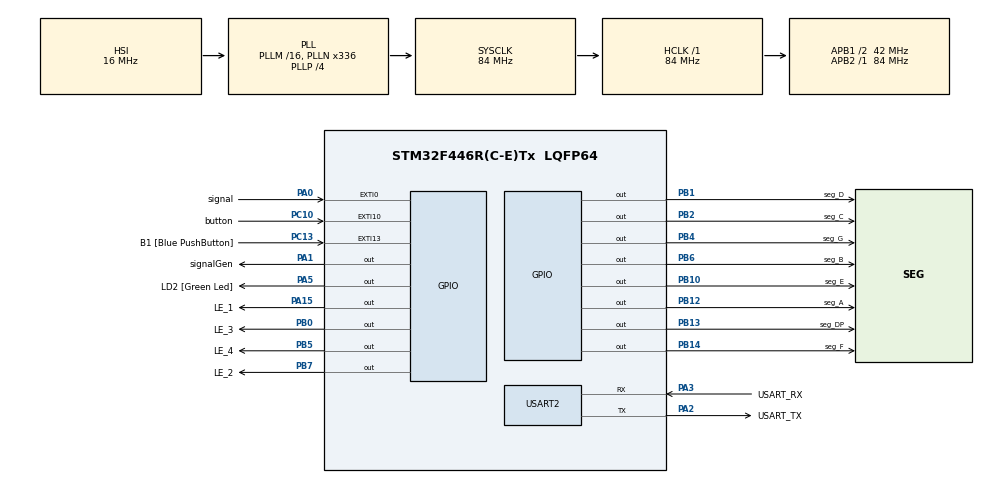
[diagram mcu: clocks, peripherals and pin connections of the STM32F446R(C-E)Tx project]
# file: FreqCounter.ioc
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Mcu.Family=STM32F4
Mcu.Name=STM32F446R(C-E)Tx
Mcu.Package=LQFP64
NVIC.EXTI0_IRQn=true\:0\:0\:false\:false\:true\:true\:true
NVIC.EXTI15_10_IRQn=true\:0\:0\:false\:false\:true\:true\:true
NVIC.PriorityGroup=NVIC_PRIORITYGROUP_0
PA0-WKUP.GPIO_Label=signal
PA0-WKUP.GPIO_PuPd=GPIO_PULLDOWN
PA0-WKUP.Signal=GPXTI0
PA1.GPIO_Label=signalGen
PA1.GPIO_PuPd=GPIO_PULLDOWN
PA1.GPIO_Speed=GPIO_SPEED_FREQ_HIGH
PA1.Signal=GPIO_Output
PA13.GPIO_Label=TMS
PA13.Mode=Serial_Wire
PA13.Signal=SYS_JTMS-SWDIO
PA14.GPIO_Label=TCK
PA14.Mode=Serial_Wire
PA14.Signal=SYS_JTCK-SWCLK
PA15.GPIO_Label=LE_1
PA15.GPIO_PuPd=GPIO_PULLUP
PA15.GPIO_Speed=GPIO_SPEED_FREQ_HIGH
PA15.PinState=GPIO_PIN_SET
PA15.Signal=GPIO_Output
PA2.GPIO_Label=USART_TX
PA2.Mode=Asynchronous
PA2.Signal=USART2_TX
PA3.GPIO_Label=USART_RX
PA3.Mode=Asynchronous
PA3.Signal=USART2_RX
PA5.GPIO_Label=LD2 [Green Led]
PA5.Signal=GPIO_Output
PB0.GPIO_Label=LE_3
PB0.GPIO_PuPd=GPIO_PULLUP
PB0.GPIO_Speed=GPIO_SPEED_FREQ_HIGH
PB0.PinState=GPIO_PIN_SET
PB0.Signal=GPIO_Output
PB1.GPIO_Label=seg_D
PB1.GPIO_PuPd=GPIO_PULLUP
PB1.GPIO_Speed=GPIO_SPEED_FREQ_HIGH
PB1.Signal=GPIO_Output
PB10.GPIO_Label=seg_E
PB10.GPIO_PuPd=GPIO_PULLUP
PB10.GPIO_Speed=GPIO_SPEED_FREQ_HIGH
PB10.Signal=GPIO_Output
PB12.GPIO_Label=seg_A
PB12.GPIO_ModeDefaultOutputPP=GPIO_MODE_OUTPUT_PP
PB12.GPIO_PuPd=GPIO_PULLUP
PB12.GPIO_Speed=GPIO_SPEED_FREQ_HIGH
PB12.Signal=GPIO_Output
PB13.GPIO_Label=seg_DP
PB13.GPIO_PuPd=GPIO_PULLUP
PB13.GPIO_Speed=GPIO_SPEED_FREQ_HIGH
PB13.Signal=GPIO_Output
PB14.GPIO_Label=seg_F
PB14.GPIO_ModeDefaultOutputPP=GPIO_MODE_OUTPUT_PP
PB14.GPIO_PuPd=GPIO_PULLUP
PB14.GPIO_Speed=GPIO_SPEED_FREQ_HIGH
PB14.Signal=GPIO_Output
PB2.GPIO_Label=seg_C
PB2.GPIO_PuPd=GPIO_PULLUP
PB2.GPIO_Speed=GPIO_SPEED_FREQ_HIGH
PB2.Signal=GPIO_Output
PB3.GPIO_Label=SWO
PB3.Signal=SYS_JTDO-SWO
PB4.GPIO_Label=seg_G
PB4.GPIO_PuPd=GPIO_PULLUP
PB4.GPIO_Speed=GPIO_SPEED_FREQ_HIGH
PB4.Signal=GPIO_Output
PB5.GPIO_Label=LE_4
PB5.GPIO_PuPd=GPIO_PULLUP
PB5.GPIO_Speed=GPIO_SPEED_FREQ_HIGH
PB5.PinState=GPIO_PIN_SET
PB5.Signal=GPIO_Output
PB6.GPIO_Label=seg_B
PB6.GPIO_PuPd=GPIO_PULLUP
PB6.GPIO_Speed=GPIO_SPEED_FREQ_HIGH
PB6.Signal=GPIO_Output
PB7.GPIO_Label=LE_2
PB7.GPIO_PuPd=GPIO_PULLUP
PB7.GPIO_Speed=GPIO_SPEED_FREQ_HIGH
PB7.PinState=GPIO_PIN_SET
PB7.Signal=GPIO_Output
PC10.GPIO_Label=button
PC10.GPIO_ModeDefaultEXTI=GPIO_MODE_IT_FALLING
PC10.GPIO_PuPd=GPIO_PULLUP
PC10.Signal=GPXTI10
PC13.GPIO_Label=B1 [Blue PushButton]
PC13.GPIO_ModeDefaultEXTI=GPIO_MODE_IT_FALLING
PC13.Signal=GPXTI13
PC14-OSC32_IN.Mode=LSE-External-Oscillator
PC14-OSC32_IN.Signal=RCC_OSC32_IN
PC15-OSC32_OUT.Mode=LSE-External-Oscillator
PC15-OSC32_OUT.Signal=RCC_OSC32_OUT
PH0-OSC_IN.Mode=HSE-External-Oscillator
PH0-OSC_IN.Signal=RCC_OSC_IN
PH1-OSC_OUT.Mode=HSE-External-Oscillator
PH1-OSC_OUT.Signal=RCC_OSC_OUT
ProjectManager.HeapSize=0x200
ProjectManager.StackSize=0x400
ProjectManager.TargetToolchain=STM32CubeIDE
RCC.48MHZClocksFreq_Value=84000000
RCC.AHBFreq_Value=84000000
RCC.APB1CLKDivider=RCC_HCLK_DIV2
RCC.APB1Freq_Value=42000000
RCC.APB1TimFreq_Value=84000000
RCC.APB2Freq_Value=84000000
RCC.APB2TimFreq_Value=84000000
RCC.CortexFreq_Value=84000000
RCC.FLatency-AdvancedSettings=FLASH_LATENCY_2
RCC.HCLKFreq_Value=84000000
RCC.HSE_VALUE=8000000
RCC.HSI_VALUE=16000000
RCC.PLLN=336
RCC.PLLP=RCC_PLLP_DIV4
RCC.SYSCLKFreq_VALUE=84000000
RCC.SYSCLKSource=RCC_SYSCLKSOURCE_PLLCLK
RCC.USBFreq_Value=168000000
RCC.VCOOutputFreq_Value=336000000
USART2.VirtualMode=VM_ASYNC
board=NUCLEO-F446RE

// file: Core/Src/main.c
/* USER CODE BEGIN Header */
/**
  ******************************************************************************
  * @file           : main.c
  * @brief          : Main program body
  ******************************************************************************
  * @attention
  *
  * <h2><center>&copy; Copyright (c) 2020 STMicroelectronics.
  * All rights reserved.</center></h2>
  *
  * This software component is licensed by ST under BSD 3-Clause license,
  * the "License"; You may not use this file except in compliance with the
  * License. You may obtain a copy of the License at:
  *                        opensource.org/licenses/BSD-3-Clause
  *
  ******************************************************************************
  */
/* USER CODE END Header */

#include "main.h"

UART_HandleTypeDef huart2;

/* USER CODE BEGIN PV */
TIM_HandleTypeDef htim_gen;
TIM_HandleTypeDef htim_clockCntr;
TIM_HandleTypeDef htim_prell;

uint16_t sevenSegNumbers[] = {
		0x5446,
		0x0044,
		0x1452,
		0x1056,
		0x4054,
		0x5016,
		0x5416,
		0x1044,
		0x5456,
		0x5056
};
enum printMode {Freq, Time};
uint8_t mode = Freq;
uint32_t isPrint = 0;
uint32_t clockCntr = 0;
uint32_t printCntr = 0;
uint16_t sevenSegMask = 0x7456;
/* USER CODE END PV */

void SystemClock_Config(void);
static void MX_GPIO_Init(void);
static void MX_USART2_UART_Init(void);
/* USER CODE BEGIN PFP */
static void DisplayOE_TIM_Config(void);
static void SeftSquareSignalGenerator(void);
static void ClockCounter(void);
static void ButtonPrellTimer(void);
static void PrintFreq(uint32_t, uint8_t);
static void CalcFreq(uint32_t);
/* USER CODE END PFP */

int main(void)
{

  /* MCU Configuration--------------------------------------------------------*/

  /* Reset of all peripherals, Initializes the Flash interface and the Systick. */
  HAL_Init();

  /* Configure the system clock */
  SystemClock_Config();

  /* Initialize all configured peripherals */
  MX_GPIO_Init();
  MX_USART2_UART_Init();
  /* USER CODE BEGIN 2 */
  char* mess = "Start\r\n";
  HAL_UART_Transmit(&huart2, mess, 7, 5000);
   //DisplayOE_TIM_Config();
  ButtonPrellTimer();
  SeftSquareSignalGenerator();
  ClockCounter();
  /* USER CODE END 2 */

  /* Infinite loop */
  /* USER CODE BEGIN WHILE */
  while (1)
  {
	  //PrintFreq(rand()%9999);
	  CalcFreq(printCntr);
    /* USER CODE END WHILE */

  }
}

void SystemClock_Config(void)
{
  RCC_OscInitTypeDef RCC_OscInitStruct = {0};
  RCC_ClkInitTypeDef RCC_ClkInitStruct = {0};

  /** Configure the main internal regulator output voltage
  */
  __HAL_RCC_PWR_CLK_ENABLE();
  __HAL_PWR_VOLTAGESCALING_CONFIG(PWR_REGULATOR_VOLTAGE_SCALE3);
  /** Initializes the CPU, AHB and APB busses clocks
  */
  RCC_OscInitStruct.OscillatorType = RCC_OSCILLATORTYPE_HSI;
  RCC_OscInitStruct.HSIState = RCC_HSI_ON;
  RCC_OscInitStruct.HSICalibrationValue = RCC_HSICALIBRATION_DEFAULT;
  RCC_OscInitStruct.PLL.PLLState = RCC_PLL_ON;
  RCC_OscInitStruct.PLL.PLLSource = RCC_PLLSOURCE_HSI;
  RCC_OscInitStruct.PLL.PLLM = 16;
  RCC_OscInitStruct.PLL.PLLN = 336;
  RCC_OscInitStruct.PLL.PLLP = RCC_PLLP_DIV4;
  RCC_OscInitStruct.PLL.PLLQ = 2;
  RCC_OscInitStruct.PLL.PLLR = 2;
  if (HAL_RCC_OscConfig(&RCC_OscInitStruct) != HAL_OK)
  {
    Error_Handler();
  }
  /** Initializes the CPU, AHB and APB busses clocks
  */
  RCC_ClkInitStruct.ClockType = RCC_CLOCKTYPE_HCLK|RCC_CLOCKTYPE_SYSCLK
                              |RCC_CLOCKTYPE_PCLK1|RCC_CLOCKTYPE_PCLK2;
  RCC_ClkInitStruct.SYSCLKSource = RCC_SYSCLKSOURCE_PLLCLK;
  RCC_ClkInitStruct.AHBCLKDivider = RCC_SYSCLK_DIV1;
  RCC_ClkInitStruct.APB1CLKDivider = RCC_HCLK_DIV2;
  RCC_ClkInitStruct.APB2CLKDivider = RCC_HCLK_DIV1;

  if (HAL_RCC_ClockConfig(&RCC_ClkInitStruct, FLASH_LATENCY_2) != HAL_OK)
  {
    Error_Handler();
  }
}

static void MX_USART2_UART_Init(void)
{

  huart2.Instance = USART2;
  huart2.Init.BaudRate = 115200;
  huart2.Init.WordLength = UART_WORDLENGTH_8B;
  huart2.Init.StopBits = UART_STOPBITS_1;
  huart2.Init.Parity = UART_PARITY_NONE;
  huart2.Init.Mode = UART_MODE_TX_RX;
  huart2.Init.HwFlowCtl = UART_HWCONTROL_NONE;
  huart2.Init.OverSampling = UART_OVERSAMPLING_16;
  if (HAL_UART_Init(&huart2) != HAL_OK)
  {
    Error_Handler();
  }

}

static void MX_GPIO_Init(void)
{
  GPIO_InitTypeDef GPIO_InitStruct = {0};

  /* GPIO Ports Clock Enable */
  __HAL_RCC_GPIOC_CLK_ENABLE();
  __HAL_RCC_GPIOH_CLK_ENABLE();
  __HAL_RCC_GPIOA_CLK_ENABLE();
  __HAL_RCC_GPIOB_CLK_ENABLE();

  /*Configure GPIO pin Output Level */
  HAL_GPIO_WritePin(GPIOA, signalGen_Pin|LD2_Pin, GPIO_PIN_RESET);

  /*Configure GPIO pin Output Level */
  HAL_GPIO_WritePin(GPIOB, LE_3_Pin|LE_4_Pin|LE_2_Pin, GPIO_PIN_SET);

  /*Configure GPIO pin Output Level */
  HAL_GPIO_WritePin(GPIOB, seg_D_Pin|seg_C_Pin|seg_E_Pin|seg_A_Pin
                          |seg_DP_Pin|seg_F_Pin|seg_G_Pin|seg_B_Pin, GPIO_PIN_RESET);

  /*Configure GPIO pin Output Level */
  HAL_GPIO_WritePin(LE_1_GPIO_Port, LE_1_Pin, GPIO_PIN_SET);

  /*Configure GPIO pin : B1_Pin */
  GPIO_InitStruct.Pin = B1_Pin;
  GPIO_InitStruct.Mode = GPIO_MODE_IT_FALLING;
  GPIO_InitStruct.Pull = GPIO_NOPULL;
  HAL_GPIO_Init(B1_GPIO_Port, &GPIO_InitStruct);

  /*Configure GPIO pin : signal_Pin */
  GPIO_InitStruct.Pin = signal_Pin;
  GPIO_InitStruct.Mode = GPIO_MODE_IT_RISING;
  GPIO_InitStruct.Pull = GPIO_PULLDOWN;
  HAL_GPIO_Init(signal_GPIO_Port, &GPIO_InitStruct);

  /*Configure GPIO pin : signalGen_Pin */
  GPIO_InitStruct.Pin = signalGen_Pin;
  GPIO_InitStruct.Mode = GPIO_MODE_OUTPUT_PP;
  GPIO_InitStruct.Pull = GPIO_PULLDOWN;
  GPIO_InitStruct.Speed = GPIO_SPEED_FREQ_HIGH;
  HAL_GPIO_Init(signalGen_GPIO_Port, &GPIO_InitStruct);

  /*Configure GPIO pin : LD2_Pin */
  GPIO_InitStruct.Pin = LD2_Pin;
  GPIO_InitStruct.Mode = GPIO_MODE_OUTPUT_PP;
  GPIO_InitStruct.Pull = GPIO_NOPULL;
  GPIO_InitStruct.Speed = GPIO_SPEED_FREQ_LOW;
  HAL_GPIO_Init(LD2_GPIO_Port, &GPIO_InitStruct);

  /*Configure GPIO pins : LE_3_Pin seg_D_Pin seg_C_Pin seg_E_Pin
                           seg_A_Pin seg_DP_Pin seg_F_Pin seg_G_Pin
                           LE_4_Pin seg_B_Pin LE_2_Pin */
  GPIO_InitStruct.Pin = LE_3_Pin|seg_D_Pin|seg_C_Pin|seg_E_Pin
                          |seg_A_Pin|seg_DP_Pin|seg_F_Pin|seg_G_Pin
                          |LE_4_Pin|seg_B_Pin|LE_2_Pin;
  GPIO_InitStruct.Mode = GPIO_MODE_OUTPUT_PP;
  GPIO_InitStruct.Pull = GPIO_PULLUP;
  GPIO_InitStruct.Speed = GPIO_SPEED_FREQ_HIGH;
  HAL_GPIO_Init(GPIOB, &GPIO_InitStruct);

  /*Configure GPIO pin : LE_1_Pin */
  GPIO_InitStruct.Pin = LE_1_Pin;
  GPIO_InitStruct.Mode = GPIO_MODE_OUTPUT_PP;
  GPIO_InitStruct.Pull = GPIO_PULLUP;
  GPIO_InitStruct.Speed = GPIO_SPEED_FREQ_HIGH;
  HAL_GPIO_Init(LE_1_GPIO_Port, &GPIO_InitStruct);

  /*Configure GPIO pin : button_Pin */
  GPIO_InitStruct.Pin = button_Pin;
  GPIO_InitStruct.Mode = GPIO_MODE_IT_FALLING;
  GPIO_InitStruct.Pull = GPIO_PULLUP;
  HAL_GPIO_Init(button_GPIO_Port, &GPIO_InitStruct);

  /* EXTI interrupt init*/
  HAL_NVIC_SetPriority(EXTI0_IRQn, 0, 0);
  HAL_NVIC_EnableIRQ(EXTI0_IRQn);

  HAL_NVIC_SetPriority(EXTI15_10_IRQn, 0, 0);
  HAL_NVIC_EnableIRQ(EXTI15_10_IRQn);

}

/* USER CODE BEGIN 4 */
void HAL_GPIO_EXTI_Callback(uint16_t gpio){
	if(gpio == GPIO_PIN_0){
		clockCntr++;
	}
	if(gpio == GPIO_PIN_10){
		HAL_TIM_Base_Stop_IT(&htim_prell);
		TIM3->CNT &= 0;
		HAL_TIM_Base_Start_IT(&htim_prell);
	}
}

static void DisplayOE_TIM_Config(){

}

void HAL_TIM_PeriodElapsedCallback(TIM_HandleTypeDef * htim)
{
	if (htim->Instance == TIM2)
	{
		isPrint = 1;
		//uint32_t res = (clockCntr + printCntr) / 2;
		//if(clockCntr != 0 && printCntr != 0){
		//	res += 1;
		//}
		printCntr = clockCntr;
		clockCntr = 0;
		char str[30];
		sprintf(str, "Freq: %d Hz\r\n", printCntr);
		HAL_UART_Transmit(&huart2, str, strlen(str), 5000);
	}
	if (htim->Instance == TIM3)
	{
		HAL_TIM_Base_Stop_IT(&htim_prell);
		if(HAL_GPIO_ReadPin(GPIOC, GPIO_PIN_10) == GPIO_PIN_RESET){
			char str[30] = "End of prell\r\n";
			HAL_UART_Transmit(&huart2, str, strlen(str), 5000);
			if(mode == Freq){
				mode = Time;
			}
			else{
				mode = Freq;
			}
		}
	}
	if (htim->Instance == TIM4)
	{
		HAL_GPIO_TogglePin(GPIOA, GPIO_PIN_1);
	}
}
static void SeftSquareSignalGenerator(){
	__TIM4_CLK_ENABLE(); // 42Mhz - 1Hz 661,0xFFFF - 2kHz 999,20
	htim_gen.Instance = TIM4;
	htim_gen.Init.ClockDivision = TIM_CLOCKDIVISION_DIV1;
	htim_gen.Init.CounterMode = TIM_COUNTERMODE_UP;
	htim_gen.Init.Prescaler = 999;
	htim_gen.Init.Period = 20;
	htim_gen.State = HAL_TIM_STATE_RESET;

	HAL_TIM_Base_Init(&htim_gen);

	HAL_NVIC_SetPriority(TIM4_IRQn, 0, 3);
	HAL_NVIC_EnableIRQ(TIM4_IRQn);

	HAL_TIM_Base_Start_IT(&htim_gen);
}
static void ButtonPrellTimer(){
	__TIM3_CLK_ENABLE(); // 42Mhz
	htim_prell.Instance = TIM3;
	htim_prell.Init.ClockDivision = TIM_CLOCKDIVISION_DIV1;
	htim_prell.Init.CounterMode = TIM_COUNTERMODE_UP;
	htim_prell.Init.Prescaler = 120;
	htim_prell.Init.Period = 0xFFFF;
	htim_prell.State = HAL_TIM_STATE_RESET;

	HAL_TIM_Base_Init(&htim_prell);

	HAL_NVIC_SetPriority(TIM3_IRQn, 0, 2);
	HAL_NVIC_EnableIRQ(TIM3_IRQn);
}
static void ClockCounter(){
	__TIM2_CLK_ENABLE(); //84Mhz
	htim_clockCntr.Instance = TIM2;
	htim_clockCntr.Init.ClockDivision = TIM_CLOCKDIVISION_DIV1;
	htim_clockCntr.Init.CounterMode = TIM_COUNTERMODE_UP;
	htim_clockCntr.Init.Prescaler = 0;
	htim_clockCntr.Init.Period = 0x501BD00;
	htim_clockCntr.State = HAL_TIM_STATE_RESET;

	HAL_TIM_Base_Init(&htim_clockCntr);

	HAL_NVIC_SetPriority(TIM2_IRQn, 0, 1);
	HAL_NVIC_EnableIRQ(TIM2_IRQn);

	HAL_TIM_Base_Start_IT(&htim_clockCntr);
}
static void CalcFreq(uint32_t freq){
	if(freq > 9999)
			freq = 9999; // limit max freq - 4x7seg display
		if(mode == Freq){
			PrintFreq(freq, 0);
		}
		else{
			if(freq != 0){
				float periodeTime = ((float)1 / freq) * 1000; // ms
				if(periodeTime >= 1000){
					PrintFreq((uint32_t)periodeTime, 0);
				}
				else if(periodeTime >= 100){
					periodeTime *= 10;
					PrintFreq((uint32_t)periodeTime, 3);
				}
				else if(periodeTime >= 10){
					periodeTime *= 100;
					PrintFreq((uint32_t)periodeTime, 2);
				}
				else if(periodeTime >= 1){
					periodeTime *= 1000;

					PrintFreq((uint32_t)periodeTime, 1);
				}
				else{
					periodeTime *= 1000;
					PrintFreq((uint32_t)periodeTime, 1);
				}
			}
		}
}
static void PrintFreq(uint32_t freq, uint8_t dpIndex){
	if(freq > 9999)
		freq = 9999; // limit max freq - 4x7seg display

	// SEG1
	uint8_t thouse = freq / 1000;
	HAL_GPIO_WritePin(GPIOB, sevenSegMask, GPIO_PIN_RESET); // reset segment
	dpIndex == 1 ? HAL_GPIO_WritePin(GPIOB, sevenSegNumbers[thouse] | DP_PRINT, GPIO_PIN_SET) : HAL_GPIO_WritePin(GPIOB, sevenSegNumbers[thouse], GPIO_PIN_SET);
	HAL_GPIO_WritePin(GPIOA, LE_1, GPIO_PIN_RESET);
	HAL_Delay(2);
	HAL_GPIO_WritePin(GPIOA, LE_1, GPIO_PIN_SET);
	freq -= thouse * 1000;
	// SEG2
	uint8_t hundr = freq / 100;
	HAL_GPIO_WritePin(GPIOB, sevenSegMask, GPIO_PIN_RESET); // reset segment
	dpIndex == 2 ? HAL_GPIO_WritePin(GPIOB, sevenSegNumbers[hundr] | DP_PRINT, GPIO_PIN_SET) : HAL_GPIO_WritePin(GPIOB, sevenSegNumbers[hundr], GPIO_PIN_SET);
	HAL_GPIO_WritePin(GPIOB, LE_2, GPIO_PIN_RESET);
	HAL_Delay(2);
	HAL_GPIO_WritePin(GPIOB, LE_2, GPIO_PIN_SET);
	freq -= hundr * 100;
	// SEG3
	uint8_t ten = freq / 10;
	HAL_GPIO_WritePin(GPIOB, sevenSegMask, GPIO_PIN_RESET); // reset segment
	dpIndex == 3 ? HAL_GPIO_WritePin(GPIOB, sevenSegNumbers[ten] | DP_PRINT, GPIO_PIN_SET) : HAL_GPIO_WritePin(GPIOB, sevenSegNumbers[ten], GPIO_PIN_SET);
	HAL_GPIO_WritePin(GPIOB, LE_3, GPIO_PIN_RESET);
	HAL_Delay(2);
	HAL_GPIO_WritePin(GPIOB, LE_3, GPIO_PIN_SET);
	freq -= ten * 10;
	// SEG4
	HAL_GPIO_WritePin(GPIOB, sevenSegMask, GPIO_PIN_RESET); // reset segment
	HAL_GPIO_WritePin(GPIOB, sevenSegNumbers[freq], GPIO_PIN_SET);
	HAL_GPIO_WritePin(GPIOB, LE_4, GPIO_PIN_RESET);
	HAL_Delay(2);
	HAL_GPIO_WritePin(GPIOB, LE_4, GPIO_PIN_SET);
}

/* USER CODE END 4 */

void Error_Handler(void)
{
}

/************************ (C) COPYRIGHT STMicroelectronics *****END OF FILE****/
